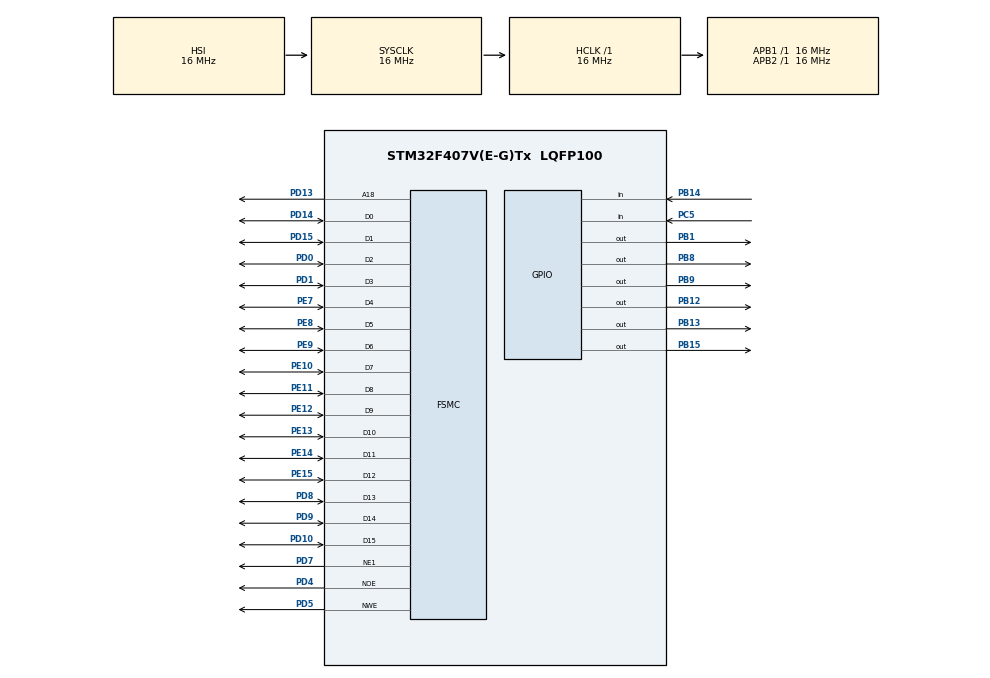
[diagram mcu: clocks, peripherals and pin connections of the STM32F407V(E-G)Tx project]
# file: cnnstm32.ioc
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FSMC.BusTurnAroundDuration1=0
FSMC.DataSetupTime1=60
FSMC.ExtendedAddressSetupTime1=9
FSMC.ExtendedBusTurnAroundDuration1=0
FSMC.ExtendedDataSetupTime1=8
FSMC.ExtendedMode1=FSMC_EXTENDED_MODE_ENABLE
Mcu.Family=STM32F4
Mcu.Name=STM32F407V(E-G)Tx
Mcu.Package=LQFP100
NVIC.PriorityGroup=NVIC_PRIORITYGROUP_4
PB1.GPIO_ModeDefaultOutputPP=GPIO_MODE_OUTPUT_PP
PB1.GPIO_PuPd=GPIO_PULLUP
PB1.GPIO_Speed=GPIO_SPEED_FREQ_VERY_HIGH
PB1.PinState=GPIO_PIN_SET
PB1.Signal=GPIO_Output
PB12.GPIO_ModeDefaultOutputPP=GPIO_MODE_OUTPUT_PP
PB12.GPIO_PuPd=GPIO_PULLUP
PB12.GPIO_Speed=GPIO_SPEED_FREQ_VERY_HIGH
PB12.PinState=GPIO_PIN_SET
PB12.Signal=GPIO_Output
PB13.GPIO_ModeDefaultOutputPP=GPIO_MODE_OUTPUT_PP
PB13.GPIO_PuPd=GPIO_PULLUP
PB13.GPIO_Speed=GPIO_SPEED_FREQ_VERY_HIGH
PB13.PinState=GPIO_PIN_SET
PB13.Signal=GPIO_Output
PB14.GPIO_PuPd=GPIO_PULLUP
PB14.Signal=GPIO_Input
PB15.GPIO_ModeDefaultOutputPP=GPIO_MODE_OUTPUT_PP
PB15.GPIO_PuPd=GPIO_PULLUP
PB15.GPIO_Speed=GPIO_SPEED_FREQ_VERY_HIGH
PB15.PinState=GPIO_PIN_SET
PB15.Signal=GPIO_Output
PB8.GPIO_ModeDefaultOutputPP=GPIO_MODE_OUTPUT_PP
PB8.GPIO_PuPd=GPIO_PULLUP
PB8.GPIO_Speed=GPIO_SPEED_FREQ_VERY_HIGH
PB8.PinState=GPIO_PIN_SET
PB8.Signal=GPIO_Output
PB9.GPIO_ModeDefaultOutputPP=GPIO_MODE_OUTPUT_PP
PB9.GPIO_PuPd=GPIO_PULLUP
PB9.GPIO_Speed=GPIO_SPEED_FREQ_VERY_HIGH
PB9.PinState=GPIO_PIN_SET
PB9.Signal=GPIO_Output
PC5.GPIO_PuPd=GPIO_PULLUP
PC5.Signal=GPIO_Input
PD0.GPIO_Mode=GPIO_MODE_AF_PP
PD0.GPIO_PuPd=GPIO_PULLUP
PD0.GPIO_Speed_High_Default=GPIO_SPEED_FREQ_VERY_HIGH
PD0.Mode=16b-d1
PD0.Signal=FSMC_D2
PD1.GPIO_Mode=GPIO_MODE_AF_PP
PD1.GPIO_PuPd=GPIO_PULLUP
PD1.GPIO_Speed_High_Default=GPIO_SPEED_FREQ_VERY_HIGH
PD1.Mode=16b-d1
PD1.Signal=FSMC_D3
PD10.GPIO_Mode=GPIO_MODE_AF_PP
PD10.GPIO_PuPd=GPIO_PULLUP
PD10.GPIO_Speed_High_Default=GPIO_SPEED_FREQ_VERY_HIGH
PD10.Mode=16b-d1
PD10.Signal=FSMC_D15
PD13.GPIO_Mode=GPIO_MODE_AF_PP
PD13.GPIO_PuPd=GPIO_PULLUP
PD13.GPIO_Speed_High_Default=GPIO_SPEED_FREQ_VERY_HIGH
PD13.Mode=A18_1
PD13.Signal=FSMC_A18
PD14.GPIO_Mode=GPIO_MODE_AF_PP
PD14.GPIO_PuPd=GPIO_PULLUP
PD14.GPIO_Speed_High_Default=GPIO_SPEED_FREQ_VERY_HIGH
PD14.Mode=16b-d1
PD14.Signal=FSMC_D0
PD15.GPIO_Mode=GPIO_MODE_AF_PP
PD15.GPIO_PuPd=GPIO_PULLUP
PD15.GPIO_Speed_High_Default=GPIO_SPEED_FREQ_VERY_HIGH
PD15.Mode=16b-d1
PD15.Signal=FSMC_D1
PD4.GPIO_Mode=GPIO_MODE_AF_PP
PD4.GPIO_PuPd=GPIO_PULLUP
PD4.GPIO_Speed_High_Default=GPIO_SPEED_FREQ_VERY_HIGH
PD4.Mode=Lcd1
PD4.Signal=FSMC_NOE
PD5.GPIO_Mode=GPIO_MODE_AF_PP
PD5.GPIO_PuPd=GPIO_PULLUP
PD5.GPIO_Speed_High_Default=GPIO_SPEED_FREQ_VERY_HIGH
PD5.Mode=Lcd1
PD5.Signal=FSMC_NWE
PD7.GPIO_Mode=GPIO_MODE_AF_PP
PD7.GPIO_PuPd=GPIO_PULLUP
PD7.GPIO_Speed_High_Default=GPIO_SPEED_FREQ_VERY_HIGH
PD7.Mode=NorPsramChipSelect1_1
PD7.Signal=FSMC_NE1
PD8.GPIO_Mode=GPIO_MODE_AF_PP
PD8.GPIO_PuPd=GPIO_PULLUP
PD8.GPIO_Speed_High_Default=GPIO_SPEED_FREQ_VERY_HIGH
PD8.Mode=16b-d1
PD8.Signal=FSMC_D13
PD9.GPIO_Mode=GPIO_MODE_AF_PP
PD9.GPIO_PuPd=GPIO_PULLUP
PD9.GPIO_Speed_High_Default=GPIO_SPEED_FREQ_VERY_HIGH
PD9.Mode=16b-d1
PD9.Signal=FSMC_D14
PE10.GPIO_Mode=GPIO_MODE_AF_PP
PE10.GPIO_PuPd=GPIO_PULLUP
PE10.GPIO_Speed_High_Default=GPIO_SPEED_FREQ_VERY_HIGH
PE10.Mode=16b-d1
PE10.Signal=FSMC_D7
PE11.GPIO_Mode=GPIO_MODE_AF_PP
PE11.GPIO_PuPd=GPIO_PULLUP
PE11.GPIO_Speed_High_Default=GPIO_SPEED_FREQ_VERY_HIGH
PE11.Mode=16b-d1
PE11.Signal=FSMC_D8
PE12.GPIO_Mode=GPIO_MODE_AF_PP
PE12.GPIO_PuPd=GPIO_PULLUP
PE12.GPIO_Speed_High_Default=GPIO_SPEED_FREQ_VERY_HIGH
PE12.Mode=16b-d1
PE12.Signal=FSMC_D9
PE13.GPIO_Mode=GPIO_MODE_AF_PP
PE13.GPIO_PuPd=GPIO_PULLUP
PE13.GPIO_Speed_High_Default=GPIO_SPEED_FREQ_VERY_HIGH
PE13.Mode=16b-d1
PE13.Signal=FSMC_D10
PE14.GPIO_Mode=GPIO_MODE_AF_PP
PE14.GPIO_PuPd=GPIO_PULLUP
PE14.GPIO_Speed_High_Default=GPIO_SPEED_FREQ_VERY_HIGH
PE14.Mode=16b-d1
PE14.Signal=FSMC_D11
PE15.GPIO_Mode=GPIO_MODE_AF_PP
PE15.GPIO_PuPd=GPIO_PULLUP
PE15.GPIO_Speed_High_Default=GPIO_SPEED_FREQ_VERY_HIGH
PE15.Mode=16b-d1
PE15.Signal=FSMC_D12
PE7.GPIO_Mode=GPIO_MODE_AF_PP
PE7.GPIO_PuPd=GPIO_PULLUP
PE7.GPIO_Speed_High_Default=GPIO_SPEED_FREQ_VERY_HIGH
PE7.Mode=16b-d1
PE7.Signal=FSMC_D4
PE8.GPIO_Mode=GPIO_MODE_AF_PP
PE8.GPIO_PuPd=GPIO_PULLUP
PE8.GPIO_Speed_High_Default=GPIO_SPEED_FREQ_VERY_HIGH
PE8.Mode=16b-d1
PE8.Signal=FSMC_D5
PE9.GPIO_Mode=GPIO_MODE_AF_PP
PE9.GPIO_PuPd=GPIO_PULLUP
PE9.GPIO_Speed_High_Default=GPIO_SPEED_FREQ_VERY_HIGH
PE9.Mode=16b-d1
PE9.Signal=FSMC_D6
ProjectManager.HeapSize=0x800
ProjectManager.StackSize=0x800
ProjectManager.TargetToolchain=MDK-ARM V5
RCC.AHBFreq_Value=16000000
RCC.APB1Freq_Value=16000000
RCC.APB2Freq_Value=16000000
RCC.CortexFreq_Value=16000000
RCC.HSE_VALUE=25000000
RCC.HSI_VALUE=16000000
RCC.LSE_VALUE=32768
RCC.SYSCLKFreq_VALUE=16000000
RCC.VCOOutputFreq_Value=192000000
STMicroelectronics.X-CUBE-AI.5.0.0.ActivationBufferSizeList=28288
STMicroelectronics.X-CUBE-AI.5.0.0.ApplicationCcArtificialOoIntelligenceJjApplication=ApplicationTemplate
STMicroelectronics.X-CUBE-AI.5.0.0.HeapSize=0x800
STMicroelectronics.X-CUBE-AI.5.0.0.InternalRamActivationBufferMaxSize=AI_NETWORK_DATA_ACTIVATIONS_SIZE
STMicroelectronics.X-CUBE-AI.5.0.0.LatestDirectoryUsed-21116a86eed5e09711c0c33d49dfed7171150b82154b86d7cda54010451eef15=D\:\\My_space\\personal_projects\\ml_on_MCU\\ml_on_MCU_pc_python_project
STMicroelectronics.X-CUBE-AI.5.0.0.MaximumNumberOfInputLayer=1
STMicroelectronics.X-CUBE-AI.5.0.0.MaximumNumberOfOutputLayer=1
STMicroelectronics.X-CUBE-AI.5.0.0.MaximumSizeOfInputLayer=3136
STMicroelectronics.X-CUBE-AI.5.0.0.MaximumSizeOfOutputLayer=40
STMicroelectronics.X-CUBE-AI.5.0.0.ModelActualCompression-21116a86eed5e09711c0c33d49dfed7171150b82154b86d7cda54010451eef15=0.0
STMicroelectronics.X-CUBE-AI.5.0.0.ModelCompression-21116a86eed5e09711c0c33d49dfed7171150b82154b86d7cda54010451eef15=8
STMicroelectronics.X-CUBE-AI.5.0.0.ModelFlashOccupation-21116a86eed5e09711c0c33d49dfed7171150b82154b86d7cda54010451eef15=276184
STMicroelectronics.X-CUBE-AI.5.0.0.ModelHashList=21116a86eed5e09711c0c33d49dfed7171150b82154b86d7cda54010451eef15
STMicroelectronics.X-CUBE-AI.5.0.0.ModelKind-21116a86eed5e09711c0c33d49dfed7171150b82154b86d7cda54010451eef15=KERAS
STMicroelectronics.X-CUBE-AI.5.0.0.ModelMacc-21116a86eed5e09711c0c33d49dfed7171150b82154b86d7cda54010451eef15=780034
STMicroelectronics.X-CUBE-AI.5.0.0.ModelName-21116a86eed5e09711c0c33d49dfed7171150b82154b86d7cda54010451eef15=network
STMicroelectronics.X-CUBE-AI.5.0.0.ModelNameList=network
STMicroelectronics.X-CUBE-AI.5.0.0.ModelRamOccupation-21116a86eed5e09711c0c33d49dfed7171150b82154b86d7cda54010451eef15=28288
STMicroelectronics.X-CUBE-AI.5.0.0.ModelStructureFile-21116a86eed5e09711c0c33d49dfed7171150b82154b86d7cda54010451eef15=/D\:/My_space/personal_projects/ml_on_MCU/ml_on_MCU_pc_python_project/final_model.h5
STMicroelectronics.X-CUBE-AI.5.0.0.ModelType-21116a86eed5e09711c0c33d49dfed7171150b82154b86d7cda54010451eef15=Saved model
STMicroelectronics.X-CUBE-AI.5.0.0.NNModelInformation_AchievedCompression-21116a86eed5e09711c0c33d49dfed7171150b82154b86d7cda54010451eef15=0.0
STMicroelectronics.X-CUBE-AI.5.0.0.NNModelInformation_CompressionFactor-21116a86eed5e09711c0c33d49dfed7171150b82154b86d7cda54010451eef15=-0.8726628921306456
STMicroelectronics.X-CUBE-AI.5.0.0.NNModelInformation_EvaluationStatus-21116a86eed5e09711c0c33d49dfed7171150b82154b86d7cda54010451eef15=NOT EVALUATED
STMicroelectronics.X-CUBE-AI.5.0.0.NNModelInformation_HeapSizeNeeded-21116a86eed5e09711c0c33d49dfed7171150b82154b86d7cda54010451eef15=1024
STMicroelectronics.X-CUBE-AI.5.0.0.NNModelInformation_ModelInSizeByName-21116a86eed5e09711c0c33d49dfed7171150b82154b86d7cda54010451eef15={input_0\=3136}
STMicroelectronics.X-CUBE-AI.5.0.0.NNModelInformation_ModelMacc-21116a86eed5e09711c0c33d49dfed7171150b82154b86d7cda54010451eef15=780034
STMicroelectronics.X-CUBE-AI.5.0.0.NNModelInformation_ModelName-21116a86eed5e09711c0c33d49dfed7171150b82154b86d7cda54010451eef15=network
STMicroelectronics.X-CUBE-AI.5.0.0.NNModelInformation_ModelOutSizeByName-21116a86eed5e09711c0c33d49dfed7171150b82154b86d7cda54010451eef15={dense_1_nl\=40}
STMicroelectronics.X-CUBE-AI.5.0.0.NNModelInformation_ModelRam-21116a86eed5e09711c0c33d49dfed7171150b82154b86d7cda54010451eef15=28288
STMicroelectronics.X-CUBE-AI.5.0.0.NNModelInformation_ModelRom-21116a86eed5e09711c0c33d49dfed7171150b82154b86d7cda54010451eef15=276184
STMicroelectronics.X-CUBE-AI.5.0.0.NNModelInformation_ModelSize-21116a86eed5e09711c0c33d49dfed7171150b82154b86d7cda54010451eef15=2168920
STMicroelectronics.X-CUBE-AI.5.0.0.NNModelInformation_NbOfParameters-21116a86eed5e09711c0c33d49dfed7171150b82154b86d7cda54010451eef15=542230
STMicroelectronics.X-CUBE-AI.5.0.0.StackSize=0x800
STMicroelectronics.X-CUBE-AI.5.0.0.WorkingBufferStartAddrList=0xFFFFFFFF
STMicroelectronics.X-CUBE-AI.5.0.0.XAaCUBEAaAICcArtificialOoIntelligenceJjCore=true
VP_CRC_VS_CRC.Mode=CRC_Activate
VP_STMicroelectronics.X-CUBE-AI_VS_ArtificialOoIntelligenceJjApplication_5.0.0.Mode=ArtificialOoIntelligenceJjApplication
VP_STMicroelectronics.X-CUBE-AI_VS_ArtificialOoIntelligenceJjXAaCUBEAaAI_5.0.0.Mode=ArtificialOoIntelligenceJjXAaCUBEAaAI
board=custom

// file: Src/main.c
/* USER CODE BEGIN Header */
/**
  ******************************************************************************
  * @file           : main.c
  * @brief          : Main program body
  ******************************************************************************
  * @attention
  *
  * <h2><center>&copy; Copyright (c) 2020 STMicroelectronics.
  * All rights reserved.</center></h2>
  *
  * This software component is licensed by ST under Ultimate Liberty license
  * SLA0044, the "License"; You may not use this file except in compliance with
  * the License. You may obtain a copy of the License at:
  *                             www.st.com/SLA0044
  *
  ******************************************************************************
  */
/* USER CODE END Header */

#include "main.h"
#include "app_x-cube-ai.h"

/* USER CODE BEGIN Includes */
#include "touch.h"
#include "lcd.h"
#include "rec.h"
#include "mytypedef.h"
#include <string.h>
/* USER CODE END Includes */

CRC_HandleTypeDef hcrc;

SRAM_HandleTypeDef hsram1;

void SystemClock_Config(void);
static void MX_GPIO_Init(void);
static void MX_CRC_Init(void);
static void MX_FSMC_Init(void);

int main(void)
{
  /* USER CODE BEGIN 1 */
	AI_ALIGNED(4)
	static ai_i8 in_data[AI_NETWORK_IN_1_SIZE_BYTES];

	AI_ALIGNED(4)
	static ai_i8 out_data[AI_NETWORK_OUT_1_SIZE_BYTES];

	u16 pcnt=0;
	u8 tcnt=0;
	u16 lastpos[2];
	u8 i;
	s8 res = 0;
	touch_screen_point READ_BUF[512];
	u8 cnn_input_buf[784];
  /* USER CODE END 1 */

  /* MCU Configuration--------------------------------------------------------*/

  /* Reset of all peripherals, Initializes the Flash interface and the Systick. */
  HAL_Init();

  /* Configure the system clock */
  SystemClock_Config();

  /* Initialize all configured peripherals */
  MX_GPIO_Init();
  MX_CRC_Init();
  MX_FSMC_Init();
  MX_X_CUBE_AI_Init();
  /* USER CODE BEGIN 2 */

	LCD_Init();
	touch_init();

  POINT_COLOR=BLACK;
	Show_Str(19,10,200,16,"Handwriting recognition",16,0);
	Show_Str(19,30,200,16,"Pretrained CNN MNIST",16,0);
	Show_Str(19,50,200,16,"Xin Zhao",16,0);
	LCD_DrawRectangle(lcddev.width/2-14*4,lcddev.height/2-14*4,lcddev.width/2+14*4,lcddev.height/2+14*4);
  /* USER CODE END 2 */

  /* Infinite loop */
  /* USER CODE BEGIN WHILE */
  while (1)
  {
		touch_scan(0);
		if(tp_dev.sta&TP_PRES_DOWN)
		{
			HAL_Delay(1);
			if (1)// I'll do this later
			{
				if(lastpos[0]==0XFFFF)
				{
					lastpos[0]=tp_dev.x[0];
					lastpos[1]=tp_dev.y[0];
				}
				lcd_draw_bline(lastpos[0],lastpos[1],tp_dev.x[0],tp_dev.y[0],2,BLUE);
				lastpos[0]=tp_dev.x[0];
				lastpos[1]=tp_dev.y[0];
				if(pcnt<512)
				{
					if(pcnt)
					{
						if((READ_BUF[pcnt-1].y!=tp_dev.y[0])&&(READ_BUF[pcnt-1].x!=tp_dev.x[0]))
						{
							READ_BUF[pcnt].x=tp_dev.x[0];
							READ_BUF[pcnt].y=tp_dev.y[0];
							pcnt++;
						}
					}else
					{
						READ_BUF[pcnt].x=tp_dev.x[0];
						READ_BUF[pcnt].y=tp_dev.y[0];
						pcnt++;
					}
				}
			}
		}
		else //the touch screen action has been terminated
		{
			lastpos[0]=0XFFFF;
			tcnt++;
			HAL_Delay(10);
			if(tcnt==40)
			{
				if(pcnt)//validated input
				{
					READ_BUF_to_cnn_input_buf_convert(READ_BUF,in_data,lcddev.width, lcddev.height, pcnt);
					pcnt=0;

					aiRun(in_data, out_data);
					ai_float tmp_val = 0;
					for (i = 0; i < 10; i ++)
					{
						if (((ai_float*)out_data)[i] > tmp_val)
						{
							tmp_val = ((ai_float*)out_data)[i];
							res = i;
						}
					}
					memset(in_data, 0, sizeof(in_data));
					memset(out_data, 0, sizeof(out_data));
					if (res == -1)
					{
						Show_Str(19,70,200,16,"Sorry, I have no idea:",16,0);
					}
					else
					{
						Show_Str(19,70,200,16,"Got it! It is:",16,0);
						LCD_ShowNum(180,70,res, 1,16);
						res = -1;
					}
					LCD_Fill(lcddev.width/2-14*4+1,lcddev.height/2-14*4+1,lcddev.width/2+14*4-1,lcddev.height/2+14*4-1,WHITE);
				}
			}
		}

    /* USER CODE END WHILE */

  //MX_X_CUBE_AI_Process();
  }
}

void SystemClock_Config(void)
{
  RCC_OscInitTypeDef RCC_OscInitStruct = {0};
  RCC_ClkInitTypeDef RCC_ClkInitStruct = {0};

  /** Configure the main internal regulator output voltage
  */
  __HAL_RCC_PWR_CLK_ENABLE();
  __HAL_PWR_VOLTAGESCALING_CONFIG(PWR_REGULATOR_VOLTAGE_SCALE1);
  /** Initializes the CPU, AHB and APB busses clocks
  */
  RCC_OscInitStruct.OscillatorType = RCC_OSCILLATORTYPE_HSI;
  RCC_OscInitStruct.HSIState = RCC_HSI_ON;
  RCC_OscInitStruct.HSICalibrationValue = RCC_HSICALIBRATION_DEFAULT;
  RCC_OscInitStruct.PLL.PLLState = RCC_PLL_NONE;
  if (HAL_RCC_OscConfig(&RCC_OscInitStruct) != HAL_OK)
  {
    Error_Handler();
  }
  /** Initializes the CPU, AHB and APB busses clocks
  */
  RCC_ClkInitStruct.ClockType = RCC_CLOCKTYPE_HCLK|RCC_CLOCKTYPE_SYSCLK
                              |RCC_CLOCKTYPE_PCLK1|RCC_CLOCKTYPE_PCLK2;
  RCC_ClkInitStruct.SYSCLKSource = RCC_SYSCLKSOURCE_HSI;
  RCC_ClkInitStruct.AHBCLKDivider = RCC_SYSCLK_DIV1;
  RCC_ClkInitStruct.APB1CLKDivider = RCC_HCLK_DIV1;
  RCC_ClkInitStruct.APB2CLKDivider = RCC_HCLK_DIV1;

  if (HAL_RCC_ClockConfig(&RCC_ClkInitStruct, FLASH_LATENCY_0) != HAL_OK)
  {
    Error_Handler();
  }
}

static void MX_CRC_Init(void)
{

  hcrc.Instance = CRC;
  if (HAL_CRC_Init(&hcrc) != HAL_OK)
  {
    Error_Handler();
  }

}

static void MX_GPIO_Init(void)
{
  GPIO_InitTypeDef GPIO_InitStruct = {0};

  /* GPIO Ports Clock Enable */
  __HAL_RCC_GPIOC_CLK_ENABLE();
  __HAL_RCC_GPIOB_CLK_ENABLE();
  __HAL_RCC_GPIOE_CLK_ENABLE();
  __HAL_RCC_GPIOD_CLK_ENABLE();

  /*Configure GPIO pin Output Level */
  HAL_GPIO_WritePin(GPIOB, GPIO_PIN_1|GPIO_PIN_12|GPIO_PIN_13|GPIO_PIN_15
                          |GPIO_PIN_8|GPIO_PIN_9, GPIO_PIN_SET);

  /*Configure GPIO pin : PC5 */
  GPIO_InitStruct.Pin = GPIO_PIN_5;
  GPIO_InitStruct.Mode = GPIO_MODE_INPUT;
  GPIO_InitStruct.Pull = GPIO_PULLUP;
  HAL_GPIO_Init(GPIOC, &GPIO_InitStruct);

  /*Configure GPIO pins : PB1 PB12 PB13 PB15
                           PB8 PB9 */
  GPIO_InitStruct.Pin = GPIO_PIN_1|GPIO_PIN_12|GPIO_PIN_13|GPIO_PIN_15
                          |GPIO_PIN_8|GPIO_PIN_9;
  GPIO_InitStruct.Mode = GPIO_MODE_OUTPUT_PP;
  GPIO_InitStruct.Pull = GPIO_PULLUP;
  GPIO_InitStruct.Speed = GPIO_SPEED_FREQ_VERY_HIGH;
  HAL_GPIO_Init(GPIOB, &GPIO_InitStruct);

  /*Configure GPIO pin : PB14 */
  GPIO_InitStruct.Pin = GPIO_PIN_14;
  GPIO_InitStruct.Mode = GPIO_MODE_INPUT;
  GPIO_InitStruct.Pull = GPIO_PULLUP;
  HAL_GPIO_Init(GPIOB, &GPIO_InitStruct);

}

/* FSMC initialization function */
static void MX_FSMC_Init(void)
{

  FSMC_NORSRAM_TimingTypeDef Timing = {0};
  FSMC_NORSRAM_TimingTypeDef ExtTiming = {0};

  /** Perform the SRAM1 memory initialization sequence
  */
  hsram1.Instance = FSMC_NORSRAM_DEVICE;
  hsram1.Extended = FSMC_NORSRAM_EXTENDED_DEVICE;
  /* hsram1.Init */
  hsram1.Init.NSBank = FSMC_NORSRAM_BANK1;
  hsram1.Init.DataAddressMux = FSMC_DATA_ADDRESS_MUX_DISABLE;
  hsram1.Init.MemoryType = FSMC_MEMORY_TYPE_SRAM;
  hsram1.Init.MemoryDataWidth = FSMC_NORSRAM_MEM_BUS_WIDTH_16;
  hsram1.Init.BurstAccessMode = FSMC_BURST_ACCESS_MODE_DISABLE;
  hsram1.Init.WaitSignalPolarity = FSMC_WAIT_SIGNAL_POLARITY_LOW;
  hsram1.Init.WrapMode = FSMC_WRAP_MODE_DISABLE;
  hsram1.Init.WaitSignalActive = FSMC_WAIT_TIMING_BEFORE_WS;
  hsram1.Init.WriteOperation = FSMC_WRITE_OPERATION_ENABLE;
  hsram1.Init.WaitSignal = FSMC_WAIT_SIGNAL_DISABLE;
  hsram1.Init.ExtendedMode = FSMC_EXTENDED_MODE_ENABLE;
  hsram1.Init.AsynchronousWait = FSMC_ASYNCHRONOUS_WAIT_DISABLE;
  hsram1.Init.WriteBurst = FSMC_WRITE_BURST_DISABLE;
  hsram1.Init.PageSize = FSMC_PAGE_SIZE_NONE;
  /* Timing */
  Timing.AddressSetupTime = 15;
  Timing.AddressHoldTime = 15;
  Timing.DataSetupTime = 60;
  Timing.BusTurnAroundDuration = 0;
  Timing.CLKDivision = 16;
  Timing.DataLatency = 17;
  Timing.AccessMode = FSMC_ACCESS_MODE_A;
  /* ExtTiming */
  ExtTiming.AddressSetupTime = 9;
  ExtTiming.AddressHoldTime = 15;
  ExtTiming.DataSetupTime = 8;
  ExtTiming.BusTurnAroundDuration = 0;
  ExtTiming.CLKDivision = 16;
  ExtTiming.DataLatency = 17;
  ExtTiming.AccessMode = FSMC_ACCESS_MODE_A;

  if (HAL_SRAM_Init(&hsram1, &Timing, &ExtTiming) != HAL_OK)
  {
    Error_Handler( );
  }

}

void Error_Handler(void)
{
}

/************************ (C) COPYRIGHT STMicroelectronics *****END OF FILE****/
